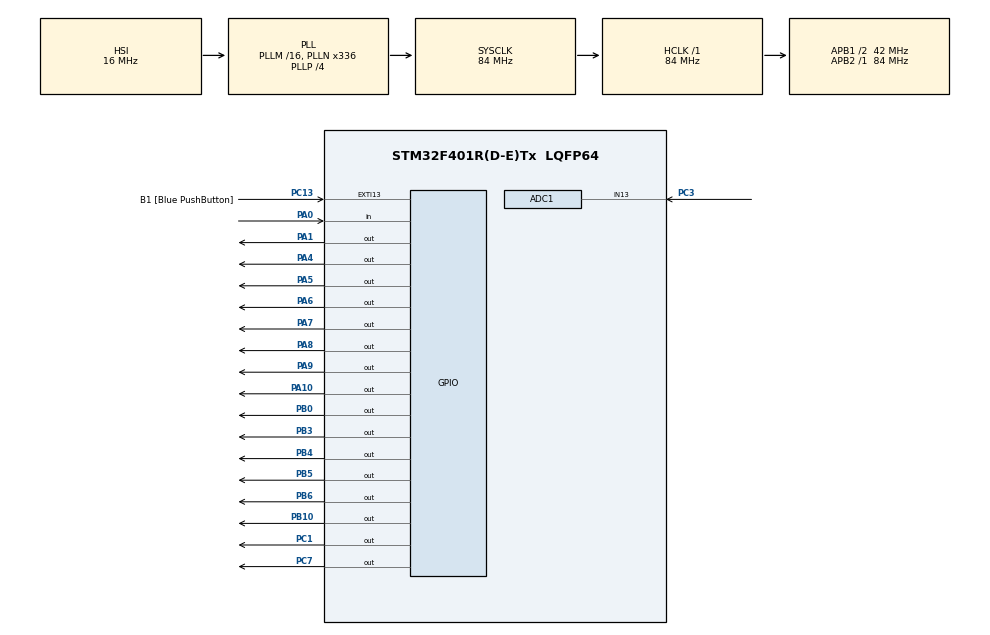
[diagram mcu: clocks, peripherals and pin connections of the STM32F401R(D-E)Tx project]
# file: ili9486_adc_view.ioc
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ADC1.Channel-0\#ChannelRegularConversion=ADC_CHANNEL_13
ADC1.NbrOfConversionFlag=1
ADC1.Rank-0\#ChannelRegularConversion=1
ADC1.SamplingTime-0\#ChannelRegularConversion=ADC_SAMPLETIME_3CYCLES
ADC1.master=1
Mcu.Family=STM32F4
Mcu.Name=STM32F401R(D-E)Tx
Mcu.Package=LQFP64
NVIC.ADC_IRQn=true\:0\:0\:false\:false\:true\:true\:true
NVIC.PriorityGroup=NVIC_PRIORITYGROUP_0
PA0-WKUP.Signal=GPIO_Input
PA1.Signal=GPIO_Output
PA10.Signal=GPIO_Output
PA13.GPIO_Label=TMS
PA13.Mode=Serial_Wire
PA13.Signal=SYS_JTMS-SWDIO
PA14.GPIO_Label=TCK
PA14.Mode=Serial_Wire
PA14.Signal=SYS_JTCK-SWCLK
PA2.GPIO_Label=USART_TX
PA2.GPIO_Mode=GPIO_MODE_AF_PP
PA2.GPIO_PuPd=GPIO_NOPULL
PA2.GPIO_Speed=GPIO_SPEED_FREQ_LOW
PA2.Signal=USART2_TX
PA3.GPIO_Label=USART_RX
PA3.GPIO_Mode=GPIO_MODE_AF_PP
PA3.GPIO_PuPd=GPIO_NOPULL
PA3.GPIO_Speed=GPIO_SPEED_FREQ_LOW
PA3.Signal=USART2_RX
PA4.Signal=GPIO_Output
PA5.Signal=GPIO_Output
PA6.Signal=GPIO_Output
PA7.Signal=GPIO_Output
PA8.Signal=GPIO_Output
PA9.Signal=GPIO_Output
PB0.Signal=GPIO_Output
PB10.Signal=GPIO_Output
PB3.Signal=GPIO_Output
PB4.Signal=GPIO_Output
PB5.Signal=GPIO_Output
PB6.Signal=GPIO_Output
PC1.Signal=GPIO_Output
PC13-ANTI_TAMP.GPIO_Label=B1 [Blue PushButton]
PC13-ANTI_TAMP.GPIO_ModeDefaultEXTI=GPIO_MODE_IT_FALLING
PC13-ANTI_TAMP.GPIO_PuPd=GPIO_NOPULL
PC13-ANTI_TAMP.Signal=GPXTI13
PC14-OSC32_IN.Signal=RCC_OSC32_IN
PC15-OSC32_OUT.Signal=RCC_OSC32_OUT
PC3.Signal=ADCx_IN13
PC7.Signal=GPIO_Output
PH0\ -\ OSC_IN.Mode=HSE-External-Clock-Source
PH0\ -\ OSC_IN.Signal=RCC_OSC_IN
PH1\ -\ OSC_OUT.Mode=HSE-External-Clock-Source
PH1\ -\ OSC_OUT.Signal=RCC_OSC_OUT
ProjectManager.HeapSize=0x200
ProjectManager.StackSize=0x400
ProjectManager.TargetToolchain=STM32CubeIDE
RCC.AHBFreq_Value=84000000
RCC.APB1CLKDivider=RCC_HCLK_DIV2
RCC.APB1Freq_Value=42000000
RCC.APB1TimFreq_Value=84000000
RCC.APB2Freq_Value=84000000
RCC.APB2TimFreq_Value=84000000
RCC.CortexFreq_Value=84000000
RCC.HCLKFreq_Value=84000000
RCC.HSE_VALUE=8000000
RCC.HSI_VALUE=16000000
RCC.LSE_VALUE=32768
RCC.PLLN=336
RCC.PLLP=RCC_PLLP_DIV4
RCC.PLLQ=7
RCC.SYSCLKFreq_VALUE=84000000
RCC.SYSCLKSource=RCC_SYSCLKSOURCE_PLLCLK
RCC.VCOOutputFreq_Value=336000000
SH.ADCx_IN13.0=ADC1_IN13,IN13
TIM1.Period=0xFFFF
TIM1.Prescaler=83
VP_TIM1_VS_ClockSourceINT.Mode=Internal
board=NUCLEO-F401RE

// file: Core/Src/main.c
/* USER CODE BEGIN Header */
/**
 ******************************************************************************
 * @file           : main.c
 * @brief          : Main program body
 ******************************************************************************
 * @attention
 *
 * <h2><center>&copy; Copyright (c) 2020 STMicroelectronics.
 * All rights reserved.</center></h2>
 *
 * This software component is licensed by ST under BSD 3-Clause license,
 * the "License"; You may not use this file except in compliance with the
 * License. You may obtain a copy of the License at:
 *                        opensource.org/licenses/BSD-3-Clause
 *
 ******************************************************************************
 */
/* USER CODE END Header */

#include "main.h"

/* USER CODE BEGIN Includes */
#include "fonts.h"
#include "tft.h"
#include "user_setting.h"
#include "functions.h"
#include <math.h>
#include <string.h>
/* USER CODE END Includes */

/* USER CODE BEGIN PTD */
#define TELA_LARGURA 480
#define TELA_ALTURA 320
#define CENTRO_X 240
#define CENTRO_Y 160
#define BORDA 10
#define N_SAMPLES 10

#define PI 3.141592
/* USER CODE END PTD */

ADC_HandleTypeDef hadc1;

TIM_HandleTypeDef htim1;

/* USER CODE BEGIN PV */
uint16_t adc_val;
uint8_t volt_val;

extern
/* USER CODE END PV */

void SystemClock_Config(void);
static void MX_GPIO_Init(void);
static void MX_TIM1_Init(void);
static void MX_ADC1_Init(void);

/* USER CODE BEGIN 0 */
uint16_t ID = 0;
/* USER CODE END 0 */

int main(void)
{

  /* MCU Configuration--------------------------------------------------------*/

  /* Reset of all peripherals, Initializes the Flash interface and the Systick. */
  HAL_Init();

  /* Configure the system clock */
  SystemClock_Config();

  /* Initialize all configured peripherals */
  MX_GPIO_Init();
  MX_TIM1_Init();
  MX_ADC1_Init();
  /* USER CODE BEGIN 2 */
	HAL_TIM_Base_Start(&htim1);

	ID = readID();
	HAL_Delay(100);
	tft_init(ID);
	setFont(&mono9x7);
	setTextColor(GREEN);
	setTextSize(2);
	setTextWrap(1);

	setRotation(1);
	fillScreen(BLACK);
	drawFastVLine(CENTRO_X, BORDA, TELA_ALTURA-(2*BORDA), CYAN);
	drawFastHLine(BORDA, CENTRO_Y, TELA_LARGURA-(2*BORDA), CYAN);
	drawRect(BORDA, BORDA, TELA_LARGURA - (2*BORDA), TELA_ALTURA - (2*BORDA), YELLOW);

	HAL_ADC_Start_IT(&hadc1);

  /* USER CODE END 2 */

  /* Infinite loop */
  /* USER CODE BEGIN WHILE */
	while (1) {
		static int sample[N_SAMPLES] = {0};
		static int i = 0;
		static int j = 0;
		static uint32_t scan_tim = 0;
		const int dx = TELA_LARGURA/N_SAMPLES;
		uint32_t t_start;
		volatile static char volt_str[5] = {0};

		if (j == 0) t_start = HAL_GetTick();

		// Desenha o cabeçalho da tela

		// Desenha 47 últimos pontos da curva

		// (Refresh nas curvas)
		// Apaga a última curva

		for(i=0; i<N_SAMPLES-1; i++){
			drawLine(dx*i+BORDA, CENTRO_Y-sample[i], dx*(i+1)+BORDA, CENTRO_Y-sample[i+1], BLACK);
		}

		for(i=0; i<N_SAMPLES-1; i++){
			sample[i] = sample[i+1];
		}

		sample[i] = adc_val;

		for(i=0; i<N_SAMPLES-1; i++){
			drawLine(dx*i+BORDA, CENTRO_Y-sample[i], dx*(i+1)+BORDA, CENTRO_Y-sample[i+1], GREEN);
		}

		j++;

		if(j >= N_SAMPLES) {
			scan_tim = HAL_GetTick() - t_start;
			j = 0;
		}

		drawFastVLine(CENTRO_X, BORDA, TELA_ALTURA-(2*BORDA), CYAN);
		drawFastHLine(BORDA, CENTRO_Y, TELA_LARGURA-(2*BORDA), CYAN);
		drawRect(BORDA, BORDA, TELA_LARGURA - (2*BORDA), TELA_ALTURA - (2*BORDA), YELLOW);

		HAL_ADC_Start_IT(&hadc1);

		sprintf(volt_str, "%d.%dV", (volt_val / 10), (volt_val % 10));
		fillRect(28, 228, 86, 25, BLACK);
		setCursor(25,250);
		printstr((uint8_t*)volt_str);
		memset(volt_str, 0, sizeof(volt_str));

    /* USER CODE END WHILE */

	}
}

void SystemClock_Config(void)
{
  RCC_OscInitTypeDef RCC_OscInitStruct = {0};
  RCC_ClkInitTypeDef RCC_ClkInitStruct = {0};

  /** Configure the main internal regulator output voltage
  */
  __HAL_RCC_PWR_CLK_ENABLE();
  __HAL_PWR_VOLTAGESCALING_CONFIG(PWR_REGULATOR_VOLTAGE_SCALE2);
  /** Initializes the CPU, AHB and APB busses clocks
  */
  RCC_OscInitStruct.OscillatorType = RCC_OSCILLATORTYPE_HSI;
  RCC_OscInitStruct.HSIState = RCC_HSI_ON;
  RCC_OscInitStruct.HSICalibrationValue = RCC_HSICALIBRATION_DEFAULT;
  RCC_OscInitStruct.PLL.PLLState = RCC_PLL_ON;
  RCC_OscInitStruct.PLL.PLLSource = RCC_PLLSOURCE_HSI;
  RCC_OscInitStruct.PLL.PLLM = 16;
  RCC_OscInitStruct.PLL.PLLN = 336;
  RCC_OscInitStruct.PLL.PLLP = RCC_PLLP_DIV4;
  RCC_OscInitStruct.PLL.PLLQ = 7;
  if (HAL_RCC_OscConfig(&RCC_OscInitStruct) != HAL_OK)
  {
    Error_Handler();
  }
  /** Initializes the CPU, AHB and APB busses clocks
  */
  RCC_ClkInitStruct.ClockType = RCC_CLOCKTYPE_HCLK|RCC_CLOCKTYPE_SYSCLK
                              |RCC_CLOCKTYPE_PCLK1|RCC_CLOCKTYPE_PCLK2;
  RCC_ClkInitStruct.SYSCLKSource = RCC_SYSCLKSOURCE_PLLCLK;
  RCC_ClkInitStruct.AHBCLKDivider = RCC_SYSCLK_DIV1;
  RCC_ClkInitStruct.APB1CLKDivider = RCC_HCLK_DIV2;
  RCC_ClkInitStruct.APB2CLKDivider = RCC_HCLK_DIV1;

  if (HAL_RCC_ClockConfig(&RCC_ClkInitStruct, FLASH_LATENCY_2) != HAL_OK)
  {
    Error_Handler();
  }
}

static void MX_ADC1_Init(void)
{

  ADC_ChannelConfTypeDef sConfig = {0};

  /** Configure the global features of the ADC (Clock, Resolution, Data Alignment and number of conversion)
  */
  hadc1.Instance = ADC1;
  hadc1.Init.ClockPrescaler = ADC_CLOCK_SYNC_PCLK_DIV4;
  hadc1.Init.Resolution = ADC_RESOLUTION_12B;
  hadc1.Init.ScanConvMode = DISABLE;
  hadc1.Init.ContinuousConvMode = DISABLE;
  hadc1.Init.DiscontinuousConvMode = DISABLE;
  hadc1.Init.ExternalTrigConvEdge = ADC_EXTERNALTRIGCONVEDGE_NONE;
  hadc1.Init.ExternalTrigConv = ADC_SOFTWARE_START;
  hadc1.Init.DataAlign = ADC_DATAALIGN_RIGHT;
  hadc1.Init.NbrOfConversion = 1;
  hadc1.Init.DMAContinuousRequests = DISABLE;
  hadc1.Init.EOCSelection = ADC_EOC_SINGLE_CONV;
  if (HAL_ADC_Init(&hadc1) != HAL_OK)
  {
    Error_Handler();
  }
  /** Configure for the selected ADC regular channel its corresponding rank in the sequencer and its sample time.
  */
  sConfig.Channel = ADC_CHANNEL_13;
  sConfig.Rank = 1;
  sConfig.SamplingTime = ADC_SAMPLETIME_3CYCLES;
  if (HAL_ADC_ConfigChannel(&hadc1, &sConfig) != HAL_OK)
  {
    Error_Handler();
  }

}

static void MX_TIM1_Init(void)
{

  TIM_ClockConfigTypeDef sClockSourceConfig = {0};
  TIM_MasterConfigTypeDef sMasterConfig = {0};

  htim1.Instance = TIM1;
  htim1.Init.Prescaler = 83;
  htim1.Init.CounterMode = TIM_COUNTERMODE_UP;
  htim1.Init.Period = 0xFFFF;
  htim1.Init.ClockDivision = TIM_CLOCKDIVISION_DIV1;
  htim1.Init.RepetitionCounter = 0;
  htim1.Init.AutoReloadPreload = TIM_AUTORELOAD_PRELOAD_DISABLE;
  if (HAL_TIM_Base_Init(&htim1) != HAL_OK)
  {
    Error_Handler();
  }
  sClockSourceConfig.ClockSource = TIM_CLOCKSOURCE_INTERNAL;
  if (HAL_TIM_ConfigClockSource(&htim1, &sClockSourceConfig) != HAL_OK)
  {
    Error_Handler();
  }
  sMasterConfig.MasterOutputTrigger = TIM_TRGO_RESET;
  sMasterConfig.MasterSlaveMode = TIM_MASTERSLAVEMODE_DISABLE;
  if (HAL_TIMEx_MasterConfigSynchronization(&htim1, &sMasterConfig) != HAL_OK)
  {
    Error_Handler();
  }

}

static void MX_GPIO_Init(void)
{
  GPIO_InitTypeDef GPIO_InitStruct = {0};

  /* GPIO Ports Clock Enable */
  __HAL_RCC_GPIOC_CLK_ENABLE();
  __HAL_RCC_GPIOH_CLK_ENABLE();
  __HAL_RCC_GPIOA_CLK_ENABLE();
  __HAL_RCC_GPIOB_CLK_ENABLE();

  /*Configure GPIO pin Output Level */
  HAL_GPIO_WritePin(GPIOC, GPIO_PIN_1|GPIO_PIN_7, GPIO_PIN_RESET);

  /*Configure GPIO pin Output Level */
  HAL_GPIO_WritePin(GPIOA, GPIO_PIN_1|GPIO_PIN_4|GPIO_PIN_5|GPIO_PIN_6
                          |GPIO_PIN_7|GPIO_PIN_8|GPIO_PIN_9|GPIO_PIN_10, GPIO_PIN_RESET);

  /*Configure GPIO pin Output Level */
  HAL_GPIO_WritePin(GPIOB, GPIO_PIN_0|GPIO_PIN_10|GPIO_PIN_3|GPIO_PIN_4
                          |GPIO_PIN_5|GPIO_PIN_6, GPIO_PIN_RESET);

  /*Configure GPIO pin : B1_Pin */
  GPIO_InitStruct.Pin = B1_Pin;
  GPIO_InitStruct.Mode = GPIO_MODE_IT_FALLING;
  GPIO_InitStruct.Pull = GPIO_NOPULL;
  HAL_GPIO_Init(B1_GPIO_Port, &GPIO_InitStruct);

  /*Configure GPIO pins : PC1 PC7 */
  GPIO_InitStruct.Pin = GPIO_PIN_1|GPIO_PIN_7;
  GPIO_InitStruct.Mode = GPIO_MODE_OUTPUT_PP;
  GPIO_InitStruct.Pull = GPIO_NOPULL;
  GPIO_InitStruct.Speed = GPIO_SPEED_FREQ_LOW;
  HAL_GPIO_Init(GPIOC, &GPIO_InitStruct);

  /*Configure GPIO pin : PA0 */
  GPIO_InitStruct.Pin = GPIO_PIN_0;
  GPIO_InitStruct.Mode = GPIO_MODE_INPUT;
  GPIO_InitStruct.Pull = GPIO_NOPULL;
  HAL_GPIO_Init(GPIOA, &GPIO_InitStruct);

  /*Configure GPIO pins : PA1 PA4 PA5 PA6
                           PA7 PA8 PA9 PA10 */
  GPIO_InitStruct.Pin = GPIO_PIN_1|GPIO_PIN_4|GPIO_PIN_5|GPIO_PIN_6
                          |GPIO_PIN_7|GPIO_PIN_8|GPIO_PIN_9|GPIO_PIN_10;
  GPIO_InitStruct.Mode = GPIO_MODE_OUTPUT_PP;
  GPIO_InitStruct.Pull = GPIO_NOPULL;
  GPIO_InitStruct.Speed = GPIO_SPEED_FREQ_LOW;
  HAL_GPIO_Init(GPIOA, &GPIO_InitStruct);

  /*Configure GPIO pins : USART_TX_Pin USART_RX_Pin */
  GPIO_InitStruct.Pin = USART_TX_Pin|USART_RX_Pin;
  GPIO_InitStruct.Mode = GPIO_MODE_AF_PP;
  GPIO_InitStruct.Pull = GPIO_NOPULL;
  GPIO_InitStruct.Speed = GPIO_SPEED_FREQ_LOW;
  GPIO_InitStruct.Alternate = GPIO_AF7_USART2;
  HAL_GPIO_Init(GPIOA, &GPIO_InitStruct);

  /*Configure GPIO pins : PB0 PB10 PB3 PB4
                           PB5 PB6 */
  GPIO_InitStruct.Pin = GPIO_PIN_0|GPIO_PIN_10|GPIO_PIN_3|GPIO_PIN_4
                          |GPIO_PIN_5|GPIO_PIN_6;
  GPIO_InitStruct.Mode = GPIO_MODE_OUTPUT_PP;
  GPIO_InitStruct.Pull = GPIO_NOPULL;
  GPIO_InitStruct.Speed = GPIO_SPEED_FREQ_LOW;
  HAL_GPIO_Init(GPIOB, &GPIO_InitStruct);

}

/* USER CODE BEGIN 4 */

void delay(uint32_t time) {
	//change your code here for the delay in microseconds
	__HAL_TIM_SET_COUNTER(&htim1, 0);
	while ((__HAL_TIM_GET_COUNTER(&htim1)) < time)
		;
}

void HAL_ADC_ConvCpltCallback(ADC_HandleTypeDef* hadc)
{
	static uint16_t conv_fact = CENTRO_Y-2*BORDA-1;
	static uint16_t volt_fact = 33;
  /* Prevent unused argument(s) compilation warning */
  adc_val = (uint16_t)(hadc->Instance->DR * conv_fact/4095);
  volt_val = (uint16_t)(hadc->Instance->DR * volt_fact/4095);

  /* NOTE : This function Should not be modified, when the callback is needed,
            the HAL_ADC_ConvCpltCallback could be implemented in the user file
   */
}

/* USER CODE END 4 */

void Error_Handler(void)
{
}

/************************ (C) COPYRIGHT STMicroelectronics *****END OF FILE****/
